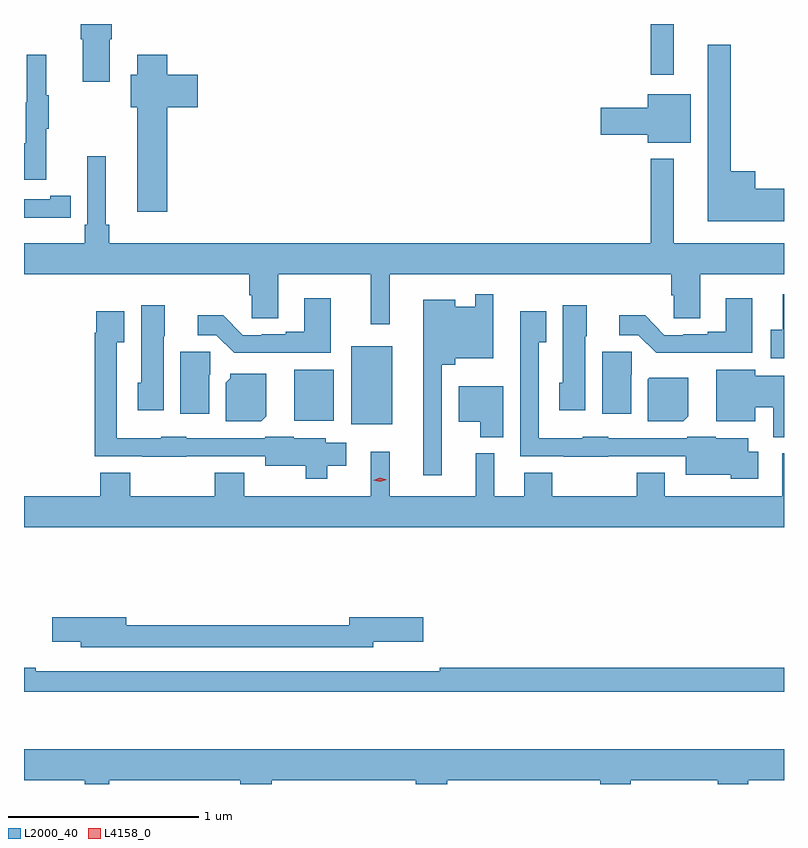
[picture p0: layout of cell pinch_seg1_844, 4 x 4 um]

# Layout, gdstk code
import gdstk
lib = gdstk.Library(unit=1e-6, precision=1e-09)
def R(c, l, rs):  # rectangles x0, y0, x1, y1
    for r in rs: c.add(gdstk.rectangle(r[:2], r[2:], *l))
def P(c, l, *ps):  # polygons
    for p in ps: c.add(gdstk.Polygon(p, *l))
L2000_40 = (2000, 40)
L4158_0 = (4158, 0)

pinch_seg1_844 = lib.new_cell('pinch_seg1_844')
R(pinch_seg1_844, L2000_40, [(483.26,513.647,483.475,514.057), (482.96,513.665,483.166,513.934), (484.836,515.487,484.957,515.753)])
P(pinch_seg1_844, L2000_40, [(481.987,515.672),(482,515.672),(482,515.753),(481.835,515.753),(481.835,515.672),(481.847,515.672),(481.847,515.448),(481.987,515.448)],
  [(485.537,514.886),(485.386,514.886),(485.386,514.978),(485.257,514.978),(485.257,515.644),(485.135,515.644),(485.135,514.715),(485.537,514.715)],
  [(481.655,515.203),(481.666,515.203),(481.666,515.377),(481.655,515.377),(481.655,515.59),(481.552,515.59),(481.552,515.34),(481.545,515.34),(481.545,515.126),(481.537,515.126),(481.537,514.932),(481.655,514.932)],
  [(482.291,515.315),(482.452,515.315),(482.452,515.485),(482.291,515.485),(482.291,515.59),(482.132,515.59),(482.132,515.485),(482.099,515.485),(482.099,515.315),(482.132,515.315),(482.132,514.764),(482.291,514.764)],
  [(485.047,515.383),(484.82,515.383),(484.82,515.313),(484.572,515.313),(484.572,515.171),(484.82,515.171),(484.82,515.129),(485.047,515.129)],
  [(481.985,514.696),(481.966,514.696),(481.966,515.056),(481.869,515.056),(481.869,514.696),(481.856,514.696),(481.856,514.6),(481.537,514.6),(481.537,514.436),(482.723,514.436),(482.723,514.326),(482.736,514.326),(482.736,514.204),(482.875,514.204),(482.875,514.436),(483.362,514.436),(483.362,514.173),(483.461,514.173),(483.461,514.436),(484.943,514.436),(484.943,514.326),(484.956,514.326),(484.956,514.204),(485.095,514.204),(485.095,514.436),(485.537,514.436),(485.537,514.6),(484.957,514.6),(484.957,515.044),(484.836,515.044),(484.836,514.6),(481.985,514.6)],
  [(481.676,514.734),(481.784,514.734),(481.784,514.85),(481.676,514.85),(481.676,514.83),(481.537,514.83),(481.537,514.733),(481.676,514.733)],
  [(485.537,514.33),(485.531,514.33),(485.531,514.143),(485.468,514.143),(485.468,513.995),(485.537,513.995)],
  [(483.735,513.959),(483.808,513.959),(483.808,513.995),(484.008,513.995),(484.008,514.33),(483.912,514.33),(483.912,514.264),(483.808,514.264),(483.808,514.303),(483.638,514.303),(483.638,513.378),(483.735,513.378)],
  [(485.371,514.309),(485.231,514.309),(485.231,514.132),(485.135,514.132),(485.135,514.119),(485.008,514.119),(485.008,514.116),(484.908,514.116),(484.806,514.219),(484.671,514.219),(484.671,514.116),(484.77,514.116),(484.865,514.022),(485.371,514.022)],
  [(483.151,514.309),(483.011,514.309),(483.011,514.132),(482.915,514.132),(482.915,514.119),(482.788,514.119),(482.788,514.116),(482.688,514.116),(482.586,514.219),(482.451,514.219),(482.451,514.116),(482.55,514.116),(482.644,514.022),(483.151,514.022)],
  [(484.492,514.11),(484.498,514.11),(484.498,514.273),(484.373,514.273),(484.373,513.864),(484.355,513.864),(484.355,513.72),(484.492,513.72)],
  [(482.272,514.11),(482.278,514.11),(482.278,514.273),(482.153,514.273),(482.153,513.864),(482.135,513.864),(482.135,513.72),(482.272,513.72)],
  [(485.401,513.502),(485.35,513.502),(485.35,513.574),(485.178,513.574),(485.178,513.58),(485.028,513.58),(485.028,513.573),(484.611,513.573),(484.611,513.58),(484.479,513.58),(484.479,513.574),(484.245,513.574),(484.245,514.079),(484.285,514.079),(484.285,514.24),(484.148,514.24),(484.148,513.999),(484.149,513.999),(484.149,513.477),(484.379,513.477),(484.379,513.476),(484.611,513.476),(484.611,513.477),(485.021,513.477),(485.021,513.38),(485.256,513.38),(485.256,513.359),(485.401,513.359)],
  [(483.132,513.428),(483.232,513.428),(483.232,513.55),(483.126,513.55),(483.126,513.574),(482.958,513.574),(482.958,513.58),(482.808,513.58),(482.808,513.573),(482.391,513.573),(482.391,513.58),(482.259,513.58),(482.259,513.574),(482.025,513.574),(482.025,514.079),(482.065,514.079),(482.065,514.24),(481.917,514.24),(481.917,514.127),(481.909,514.127),(481.909,513.477),(482.159,513.477),(482.159,513.476),(482.391,513.476),(482.391,513.477),(482.808,513.477),(482.808,513.428),(483.021,513.428),(483.021,513.359),(483.132,513.359)],
  [(484.732,513.906),(484.736,513.906),(484.736,514.029),(484.58,514.029),(484.58,513.702),(484.732,513.702)],
  [(482.512,513.906),(482.516,513.906),(482.516,514.029),(482.36,514.029),(482.36,513.702),(482.512,513.702)],
  [(485.537,513.901),(485.386,513.901),(485.386,513.934),(485.18,513.934),(485.18,513.662),(485.386,513.662),(485.386,513.737),(485.48,513.737),(485.48,513.578),(485.537,513.578)],
  [(482.812,513.688),(482.812,513.913),(482.622,513.913),(482.622,513.888),(482.6,513.866),(482.6,513.662),(482.786,513.662)],
  [(485.032,513.688),(485.032,513.892),(484.828,513.892),(484.82,513.884),(484.82,513.662),(485.006,513.662)],
  [(484.06,513.847),(483.824,513.847),(483.824,513.659),(483.938,513.659),(483.938,513.578),(484.06,513.578)],
  [(485.537,513.493),(485.529,513.493),(485.529,513.268),(484.909,513.268),(484.909,513.392),(484.762,513.392),(484.762,513.268),(484.317,513.268),(484.317,513.392),(484.169,513.392),(484.169,513.268),(484.012,513.268),(484.012,513.493),(483.914,513.493),(483.914,513.268),(483.461,513.268),(483.461,513.502),(483.362,513.502),(483.362,513.268),(482.697,513.268),(482.697,513.392),(482.542,513.392),(482.542,513.268),(482.097,513.268),(482.097,513.392),(481.937,513.392),(481.937,513.268),(481.537,513.268),(481.537,513.104),(485.537,513.104)],
  [(483.376,512.501),(483.637,512.501),(483.637,512.631),(483.248,512.631),(483.248,512.588),(482.074,512.588),(482.074,512.631),(481.686,512.631),(481.686,512.501),(481.835,512.501),(481.835,512.472),(483.376,512.472)],
  [(485.537,512.366),(483.724,512.366),(483.724,512.347),(483.472,512.347),(483.472,512.346),(481.598,512.346),(481.598,512.366),(481.537,512.366),(481.537,512.238),(485.537,512.238)],
  [(481.985,511.772),(482.675,511.772),(482.675,511.753),(482.84,511.753),(482.84,511.772),(483.599,511.772),(483.599,511.753),(483.764,511.753),(483.764,511.772),(484.571,511.772),(484.571,511.753),(484.731,511.753),(484.731,511.772),(485.188,511.772),(485.188,511.753),(485.348,511.753),(485.348,511.772),(485.537,511.772),(485.537,511.936),(481.537,511.936),(481.537,511.772),(481.856,511.772),(481.856,511.753),(481.985,511.753)])
P(pinch_seg1_844, L4158_0, [(483.411,513.344),(483.375,513.353),(483.375,513.353),(483.375,513.353),(483.411,513.364),(483.447,513.355),(483.447,513.355),(483.447,513.355)])

lib.write_gds('pinch_seg1_844.gds')
